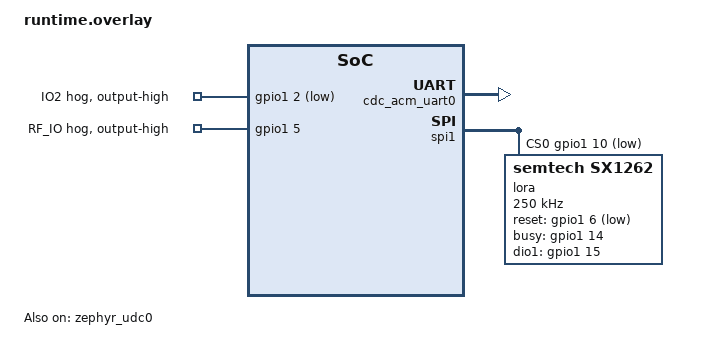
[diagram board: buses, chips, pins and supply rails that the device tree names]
/ {
    chosen {
        /delete-property/ zephyr,console;
        /delete-property/ zephyr,uart-mcumgr;
        /delete-property/ zephyr,shell-uart;
        rtbus,application-serial = &cdc_acm_uart0;
        zephyr,code-partition = &slot0_partition;
        zephyr,settings-partition = &storage_partition;
    };

    rtbus_native_gpio: rtbus-native-gpio {
        /*
         * Application GPIO export map.
         *
         * Only board-owned pins that are safe for native applications should
         * be listed here. Leaving this empty avoids exposing runtime,
         * peripheral, wake, and low-power pins as raw GPIO ABI.
         */
    };
};

&zephyr_udc0 {
    status = "okay";
    
    cdc_acm_uart0: cdc_acm_uart0 {
        compatible = "zephyr,cdc-acm-uart";
    };
};

&spi1_default {
	group1 {
		psels = <NRF_PSEL(SPIM_SCK, 1, 11)>,
			<NRF_PSEL(SPIM_MOSI, 1, 12)>;
		bias-pull-down;
	};

	group2 {
		psels = <NRF_PSEL(SPIM_MISO, 1, 13)>;
		bias-pull-down;
	};
};

&spi1_sleep {
	group1 {
		psels = <NRF_PSEL(SPIM_SCK, 1, 11)>,
			<NRF_PSEL(SPIM_MOSI, 1, 12)>,
			<NRF_PSEL(SPIM_MISO, 1, 13)>;
		bias-pull-down;
		low-power-enable;
	};
};

&spi1 {
	compatible = "nordic,nrf-spi";
	status = "okay";
	cs-gpios = <&gpio1 10 (GPIO_ACTIVE_LOW)>;

	pinctrl-0 = <&spi1_default>;
	pinctrl-1 = <&spi1_sleep>;
	pinctrl-names = "default", "sleep";

	lora: lora@0 {
		compatible = "semtech,sx1262";
		reg = <0>;
		/delete-property/ rx-enable-gpios;
		reset-gpios = <&gpio1 6 (GPIO_ACTIVE_LOW | GPIO_PULL_UP)>;
		busy-gpios = <&gpio1 14 (GPIO_ACTIVE_HIGH | GPIO_PULL_DOWN)>;
		dio1-gpios = <&gpio1 15 (GPIO_ACTIVE_HIGH | GPIO_PULL_DOWN)>;
		dio2-tx-enable;
		dio3-tcxo-voltage = <SX126X_DIO3_TCXO_1V7>;
		tcxo-power-startup-delay-ms = <10>;
		spi-max-frequency = <250000>;
	};
};


&lora {
	zephyr,deferred-init;
};

&gpio1 {
	io2_default: io2-default {
		gpio-hog;
		gpios = <2 GPIO_ACTIVE_LOW>;
		output-high;
		line-name = "IO2";
	};

	/* P1.05: board RF IO, not RX/TX switch; hold high at boot */
	rf_io_default: rf-io-default {
		gpio-hog;
		gpios = <5 GPIO_ACTIVE_HIGH>;
		output-high;
		line-name = "RF_IO";
	};
};

&reg1 {
	regulator-initial-mode = <NRF5X_REG_MODE_DCDC>;
};

&flash0 {
	partitions {
		ranges;
		#address-cells = <1>;
		#size-cells = <1>;
		/delete-node/ partition@c000;
		/delete-node/ partition@82000;

		boot_partition: partition@0 {
			compatible = "zephyr,mapped-partition";
			label = "mcuboot";
			reg = <0x00000000 0x00010000>; /* 64 KB */
		};

		slot0_partition: partition@10000 {
			compatible = "zephyr,mapped-partition";
			label = "image-0";
			reg = <0x00010000 0x0006E000>; /* 448 KB */
		};

		slot1_partition: partition@7E000 {
			compatible = "zephyr,mapped-partition";
			label = "image-1";
			reg = <0x0007E000 0x0006E000>; /* 448 KB */
		};

		component_slot_partition: partition@EC000 {
			compatible = "zephyr,mapped-partition";
			label = "component_slot";
			reg = <0x000EC000 0x0000A000>; /* 40 KB */
		};

		scratch_partition: partition@F6000 {
			compatible = "zephyr,mapped-partition";
			label = "scratch";
			reg = <0x000F6000 0x00002000>; /* 8 KB */
		};

		storage_partition: partition@F8000 {
			compatible = "zephyr,mapped-partition";
			label = "storage";
			reg = <0x000F8000 0x00004000>; /* 16 KB */
		};

		my_at_storage: partition@FC000 {
			compatible = "fixed-partition";
			label = "at_storage";
			reg = <0x000FC000 0x00004000>; /* 16 KB */
		};
	};
};

&sram0 {
    /*
     * Reserve the top of SRAM for runtime-owned memory windows.
     *
     * shared_upgrade_ram is a 40 KiB pool used by firmware patch staging.
     * The optional native module demo borrows the front of the same pool for
     * module globals until a patch upgrade takes ownership.
     */
    reg = <0x20000000 0x35000>;

    reserved-memory {
        #address-cells = <1>;
        #size-cells = <1>;
        ranges;

        shared_upgrade_ram: shared_upgrade_ram@20035000 {
            compatible = "zephyr,memory-region";
            reg = <0x20035000 0xA000>;
            zephyr,memory-region = "SHARED_UPGRADE_RAM";
        };

        /* Place the shared region at the fixed address 0x2003FF00. */
        shared_ram: shared_mem@2003FF00 {
            compatible = "zephyr,memory-region";
            reg = <0x2003FF00 0x100>;
            zephyr,memory-region = "SHARED_RAM";
        };
    };
};
